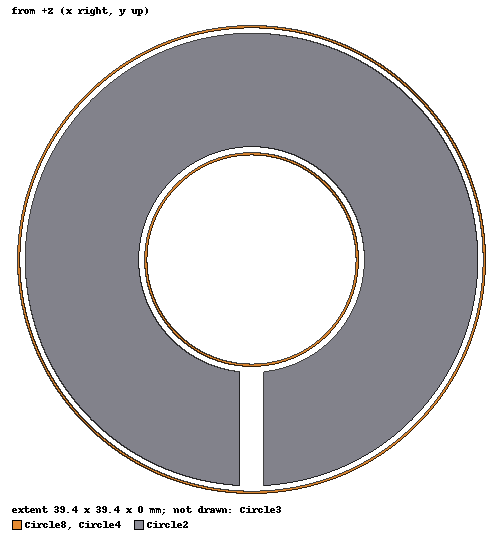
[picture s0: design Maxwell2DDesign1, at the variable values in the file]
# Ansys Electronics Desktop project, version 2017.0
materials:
  vacuum: permittivity=1
  ferrite: permittivity=12 permeability=1000 conductivity=0.01
  ferrite1: permittivity=12 permeability=5000 conductivity=0.01
  air: permittivity=1.0006 permeability=1.0000004
  non-linear ferrite: permeability{BType=normal HUnit=A_per_meter BUnit=tesla curve (0, 0) (1, 0.002) (2, 0.005) (3, 0.007) (4, 0.009) (5, 0.011) (6, 0.014) (7, 0.017) (8, 0.022) (10, 0.028) (11, 0.034) (14, 0.055) (17, 0.08) (19, 0.099) (24, 0.138) (28, 0.166) (32, 0.189) (39, 0.219) (48, 0.243) (61, 0.267) (70, 0.278) (92, 0.297) (126, 0.313) (149, 0.32) (200, 0.329) (251, 0.334) (320, 0.339) (367, 0.342) (427, 0.344) (504, 0.346) (598, 0.348) (702, 0.35) (890, 0.353) (1034, 0.355)}
  copper: permeability=0.999991 conductivity=58000000

design Maxwell2DDesign1 (Maxwell 2D, Magnetostatic, XY geometry, model units mm)
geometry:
  Circle1 = circle(normal=Z, centre=(0mm, 0mm, 0mm), radius=9.5mm)
  Circle2 [non-linear ferrite] = circle(normal=Z, centre=(0mm, 0mm, 0mm), radius=19.05mm)
  Circle2.subtract(Circle1)
  Circle3 [air] = circle(normal=Z, centre=(0mm, 0mm, 0mm), radius=40mm)
  Circle4 [copper] = circle(normal=Z, centre=(0mm, 0mm, 0mm), radius=9mm)
  Circle5 = circle(normal=Z, centre=(0mm, 0mm, 0mm), radius=8.8mm)
  Circle4.subtract(Circle5)
  Circle7 = circle(normal=Z, centre=(0mm, 0mm, 0mm), radius=19.5mm)
  Circle8 [copper] = circle(normal=Z, centre=(0mm, 0mm, 0mm), radius=19.7mm)
  Circle8.subtract(Circle7)
  Polyline3 = polyline(z=0mm, xy in mm: (1, -9.5) (1, -19) (-1, -19) (-1, -9.5) (1, -9.5), closed, covered)
  Circle2.subtract(Polyline3)
  Rectangle1 = rectangle(corner=(-1mm, -19mm, 0mm), x_size=2mm, y_size=-0.2mm)
  Circle2.subtract(Rectangle1)
  Rectangle2 = rectangle(corner=(-1mm, -9.2mm, 0mm), x_size=2mm, y_size=-0.4mm)
  Circle2.subtract(Rectangle2)
  Polyline4 = polyline((0mm, -19mm, 0mm) (0mm, -9.5mm, 0mm))
  Polyline5 = polyline((0mm, -4mm, 0mm) (0mm, -26mm, 0mm))
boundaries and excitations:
  Balloon1: Balloon Edges=Circle3.edge(1 of 1)
  Current1: Current Objects=Circle4 Current=4.5A IsPositive=true
  Current2: Current Objects=Circle8 Current=4.5A IsPositive=false
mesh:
  Length1: LengthBased Objects=[Circle2, Circle3] MaxLength=16mm
  Length2: LengthBased Objects=Circle2 MaxLength=7.62mm
  Length3: LengthBased Objects=[Circle2, Circle4, Circle8] MaxLength=7.88mm
  Length4: LengthBased Objects=[Circle2, Circle3, Circle4, Circle8] MaxLength=16mm
  Length5: LengthBased Objects=[Circle2, Circle3, Circle4, Circle8, Polyline4, Polyline5] MaxLength=16mm
  initial mesh: MeshMethod=AnsoftClassic
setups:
  Setup1: Magnetostatic MaximumPasses=10 MinimumPasses=2 MinimumConvergedPasses=1 PercentRefinement=30 PercentError=1 NonLinearResidual=0.0001
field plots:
  Mag_B1, B_Vector1: B over Circle2, Circle3 on Setup1 : LastAdaptive
  Mesh2: MeshPlots over Circle2, Circle3 on Setup1 : LastAdaptive
  coEnergy1: Energy over Circle3 on Setup1 : LastAdaptive
  coEnergy2: Energy over Circle2 on Setup1 : LastAdaptive
  Flux_Lines1: A over Circle3, Circle2 on Setup1 : LastAdaptive
  Mag_H1: H over Circle2 on Setup1 : LastAdaptive
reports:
  ind: cum_integ(Mag_B)*0.00611/0.3*15 vs Distance on Setup1 : LastAdaptive
  ind (fringing inc): cum_integ(Mag_B)*0.00611/0.3*15 vs Distance on Setup1 : LastAdaptive
  b_fields: Mag_B, Mag_B vs Distance on Setup1 : LastAdaptive; markers m1 at 9.5mm, m2 at 14.85mm, m3 at 5.522mm
  inductances: cum_integ(Mag_B)*0.00611/0.3*15, cum_integ(Mag_B)*0.00611/0.3*15 vs Distance on Setup1 : LastAdaptive; markers m1 at 9.5mm
